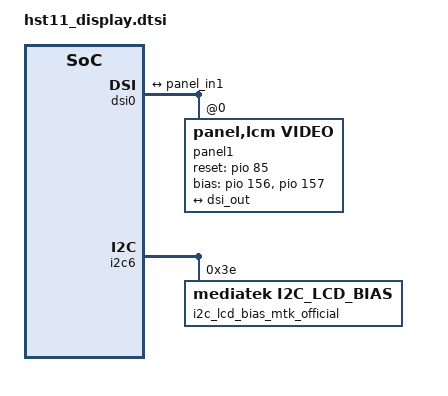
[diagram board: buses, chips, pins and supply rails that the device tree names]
// SPDX-License-Identifier: (GPL-2.0 OR MIT)
/*
 * Copyright (C) 2020 MediaTek Inc.
 */

/* display start */
/*HST11 code for AX7800A-25 by yubo at 20250410 start*/
&mtk_leds {
	compatible = "mediatek,disp-leds";

	/*HST11 code for AX7800A-2752 by yubo at 20250620 start*/
	backlight {
		led_mode = <4>;
		gate_enable = <0>;
		pwm_config = <0 1 0 0 0>;
		max-brightness = <510>;
		max-hw-brightness = <510>;
		default-state = "hst11";
	};
	/*HST11 code for AX7800A-2752 by yubo at 20250620 end*/
};

&pio {
	ctp_rst_pin_low: ctp_rst_pin_low {
		pins_cmd_dat {
			pinmux = <PINMUX_GPIO155__FUNC_GPIO155>;
			slew-rate = <1>;
			output-low;
		};
	};
	ctp_rst_pin_high: ctp_rst_pin_high {
		pins_cmd_dat {
			pinmux = <PINMUX_GPIO155__FUNC_GPIO155>;
			slew-rate = <1>;
			output-high;
		};
	};
};

&dsi0 {
	status = "okay";
	#address-cells = <1>;
	#size-cells = <0>;
	panel1@0 {
		compatible = "panel,lcm,video";
		reg = <0>;
		reset-gpios = <&pio 85 0>;//lcm rst
		bias-gpios = <&pio 156 0>, <&pio 157 0>;//vsp.vsn
		pinctrl-names = "ctp_rst_pin_low","ctp_rst_pin_high";
		pinctrl-0 = <&ctp_rst_pin_low>;
		pinctrl-1 = <&ctp_rst_pin_high>;
		port {
			panel_in1: endpoint {
				remote-endpoint = <&dsi_out>;
			};
		};
	};

	ports {
		port {
			dsi_out: endpoint {
				remote-endpoint = <&panel_in1>;
			};
		};
	};
};

/*HST11 code for AX7800A-354 by huangpengyu at 20250421 start*/
&i2c6 {
	i2c_lcd_bias_mtk_official:i2c_lcd_bias@3e {
		compatible = "mediatek,i2c_lcd_bias";
		reg = <0x3e>;
		id = <6>;
		status = "okay";
	};
};
/*HST11 code for AX7800A-25 by yubo at 20250410 end*/
/*HST11 code for AX7800A-354 by huangpengyu at 20250421 end*/
